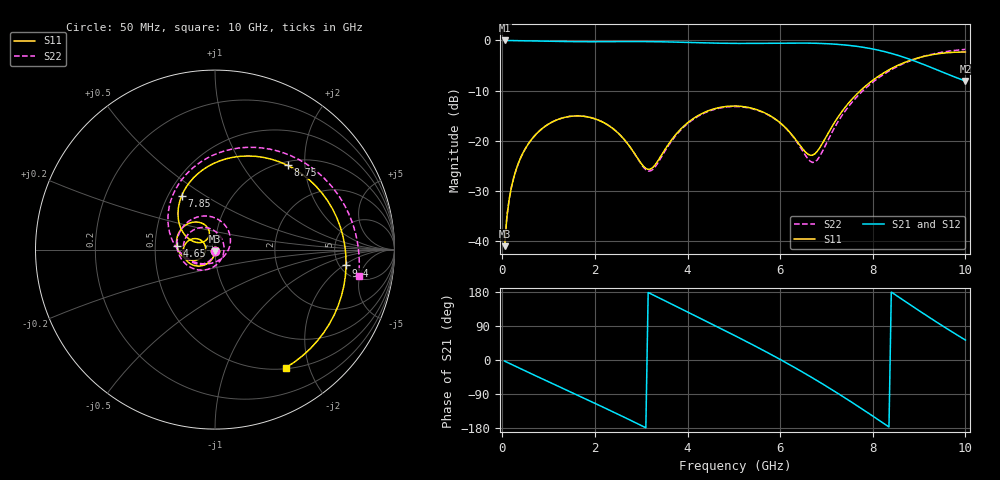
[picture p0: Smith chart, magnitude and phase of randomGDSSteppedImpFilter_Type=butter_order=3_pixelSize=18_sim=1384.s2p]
! freq	dB(S11)	phase(S11)	dB(S12)	phase(S12)
!  dB(S21)	phase(S21)	dB(S22)	phase(S22)
!S-par simulation data
#  GHz  S  DB  R 50
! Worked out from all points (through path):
!   200 points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, 50 MHz to 10 GHz, reference 50 ohm
!   highest |S21| = -0.01 dB at 50 MHz (marker M1); lowest = -8.1 dB at 10 GHz (marker M2)
!   group delay of S21, straight-line fit = 184 ps
!   lowest |S11| = -40.9 dB at 50 MHz (marker M3), VSWR 1.02, Z = 50 - j0.898 ohm
!   |S11| at or under -10 dB: start of sweep to 7.732 GHz
!   |S22| runs from -40.9 to -1.8 dB; largest |S21 - S12| = 0
!   S11 on the Smith chart (normalised r, x): 50 MHz: 1.00, -0.02; 4.65 GHz: 0.65, +0.03; 7.85 GHz: 0.59, +0.40; 8.75 GHz: 1.07, +1.63; 9.4 GHz: 5.70, -2.20; 10 GHz: 0.51, -1.64
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0.05  -40.93 -91.1  -0.01 -3.0  -0.01 -3.0  -40.93 -91.6
0.1  -35.01 -94.6  -0.01 -5.9  -0.01 -5.9  -35.02 -95.4
0.2  -29.08 -100.6  -0.02 -11.7  -0.02 -11.7  -29.09 -102.4
0.5  -21.49 -117.2  -0.07 -29.0  -0.07 -29.0  -21.50 -121.6
1.15  -15.91 -151.3  -0.19 -66.1  -0.19 -66.1  -15.91 -162.2
1.75  -15.08 179.2  -0.25 -100.0  -0.25 -100.0  -15.07 159.3
2.65  -19.90 146.7  -0.23 -152.0  -0.23 -152.0  -19.90 88.6
3.1  -25.46 169.3  -0.23 -178.8  -0.23 -178.8  -25.72 13.7
3.4  -23.38 -155.1  -0.26 163.1  -0.26 163.1  -23.75 -60.0
4.05  -16.03 -159.1  -0.41 123.6  -0.41 123.6  -16.20 -135.0
4.65  -13.43 174.8  -0.55 87.1  -0.55 87.1  -13.55 178.5
5.05  -13.06 155.5  -0.59 62.5  -0.59 62.5  -13.16 148.8
5.55  -13.95 131.5  -0.58 31.0  -0.58 31.0  -14.02 110.1
5.95  -16.02 114.6  -0.54 4.9  -0.54 4.9  -16.06 75.4
6.3  -19.30 107.7  -0.52 -19.0  -0.52 -19.0  -19.42 36.8
6.7  -22.82 135.5  -0.55 -47.3  -0.55 -47.3  -24.28 -46.7
7.3  -14.57 154.1  -0.82 -92.3  -0.82 -92.3  -15.43 -165.6
7.85  -9.03 121.6  -1.45 -135.7  -1.45 -135.7  -9.47 140.5
8.35  -5.85 82.9  -2.46 -176.6  -2.46 -176.6  -6.09 99.0
8.75  -4.16 49.3  -3.59 150.5  -3.59 150.5  -4.27 68.6
9.4  -2.67 -6.9  -5.90 98.3  -5.90 98.3  -2.51 24.6
10  -2.30 -59.2  -8.07 52.6  -8.07 52.6  -1.79 -10.4
